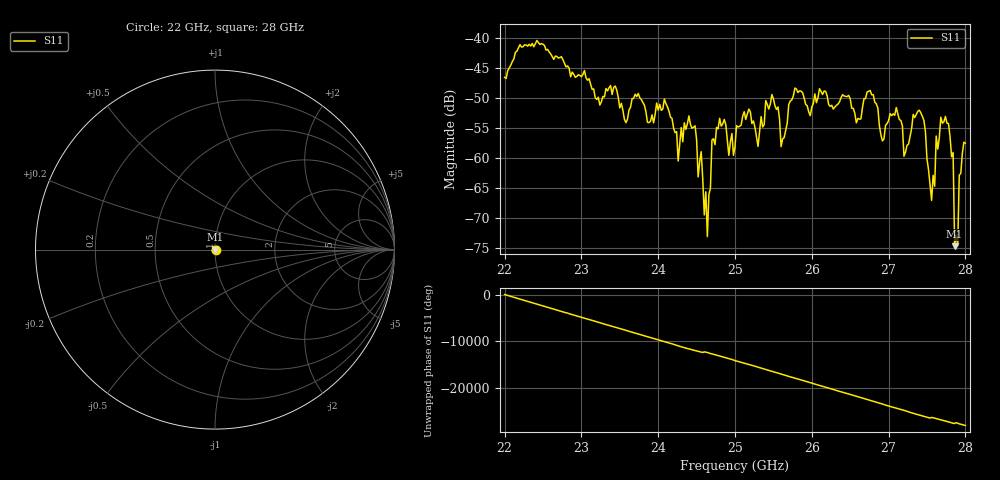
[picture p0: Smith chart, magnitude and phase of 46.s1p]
#  HZ  S  RI  R  50.00
! Rohde & Schwarz ZVA40 4Ports - Version 3.90 - 1145.1110k42 SN: 100403
! Date: 2023-10-04 10:41:34
! Measurement: S12
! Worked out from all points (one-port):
!   301 points, 22 GHz to 28 GHz, reference 50 ohm
!   lowest |S11| = -74.8 dB at 27.86 GHz (marker M1), VSWR 1.00, Z = 50 - j0.00604 ohm
!   |S11| at or under -10 dB: start of sweep to end of sweep
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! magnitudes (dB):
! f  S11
! 22 GHz  -46.6
! 22.76 GHz  -43.6
! 23.5 GHz  -51.7
! 24.08 GHz  -50.2
! 24.26 GHz  -60.5
! 24.48 GHz  -54.7
! 24.52 GHz  -63.2
! 24.56 GHz  -59.0
! 24.6 GHz  -69.5
! 24.62 GHz  -65.7
! 24.64 GHz  -73.2
! 24.7 GHz  -57.0
! 25 GHz  -58.1
! 25.18 GHz  -51.9
! 25.3 GHz  -58.1
! 25.48 GHz  -49.4
! 25.6 GHz  -58.1
! 25.76 GHz  -49.6
! 26.5 GHz  -50.1
! 27.26 GHz  -57.7
! 27.44 GHz  -53.1
! 27.56 GHz  -67.1
! 27.62 GHz  -56.4
! 27.74 GHz  -53.1
! 27.84 GHz  -59.1
! 27.86 GHz  -74.8
! 27.9 GHz  -74.7
! 28 GHz  -57.6
